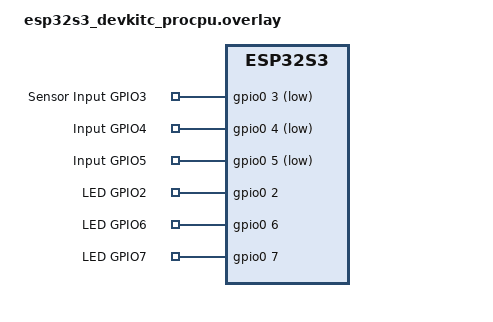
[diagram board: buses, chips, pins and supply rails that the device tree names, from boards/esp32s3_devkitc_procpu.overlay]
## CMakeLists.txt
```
# SPDX-License-Identifier: Apache-2.0

cmake_minimum_required(VERSION 3.20.0)

find_package(Zephyr REQUIRED HINTS $ENV{ZEPHYR_BASE})
project(bstd)
target_sources(app PRIVATE src/main.c)

add_subdirectory_ifdef(CONFIG_COMMON_ENABLE src/common)
add_subdirectory_ifdef(CONFIG_NVS_MGR_ENABLE src/nvs_mgr)
add_subdirectory_ifdef(CONFIG_DEV_SETT      src/dev_sett)
add_subdirectory_ifdef(CONFIG_BLE_ENABLE    src/ble)
add_subdirectory_ifdef(CONFIG_SENSOR        src/sensor)
add_subdirectory_ifdef(CONFIG_FEATURE_ENABLE src/feature)
add_subdirectory_ifdef(CONFIG_COMMU_ENABLE   src/commu)
add_subdirectory_ifdef(CONFIG_NETWORK_MOD   src/netwrk)
add_subdirectory_ifdef(CONFIG_LFS_MGR_ENABLE src/lfs_mgr)
add_subdirectory_ifdef(CONFIG_SHELL_MOD     src/shell)
add_subdirectory_ifdef(CONFIG_GPIO_MGR     src/gpio_mgr)
```

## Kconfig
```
source "Kconfig.zephyr"

menu "BSTD menu"

rsource "src/nvs_mgr/Kconfig"
rsource "src/common/Kconfig"
rsource "src/dev_sett/Kconfig"
rsource "src/ble/Kconfig"
rsource "src/shell/Kconfig"
rsource "src/feature/Kconfig"
rsource "src/commu/Kconfig"
rsource "src/netwrk/Kconfig"
rsource "src/lfs_mgr/Kconfig"
rsource "src/shell/Kconfig"
rsource "src/gpio_mgr/Kconfig"

config BSTD
	bool  "Build source code for BSTD"
	default y
	help
	  Build source code for BSTD
endmenu
```

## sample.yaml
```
sample:
  description: RTOS application
    application
  name: bstd
common:
  min_ram: 2
  min_flash: 16
  tags: introduction
  integration_platforms:
    - native_sim
  harness: console
  harness_config:
    type: one_line
    regex:
      - "Hello World! (.*)"
tests:
  sample.basic.helloworld:
    tags: introduction
  bstd.lfs_mgr.basic:
    platform_allow:
      - native_sim
    tags:
      - lfs_mgr
```

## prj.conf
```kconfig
# ==============================
# Flash
# ==============================
#CONFIG_FLASH_SIZE=16384

#Thread analyzer
CONFIG_THREAD_ANALYZER=y
CONFIG_THREAD_ANALYZER_USE_PRINTK=y
CONFIG_THREAD_NAME=y
CONFIG_THREAD_RUNTIME_STATS=y
CONFIG_THREAD_STACK_INFO=y

# ==============================
# Flash NVS and littlefs
# ==============================
CONFIG_FLASH=y
CONFIG_FLASH_MAP=y
CONFIG_FLASH_PAGE_LAYOUT=y
CONFIG_NVS=y
CONFIG_FILE_SYSTEM=y
CONFIG_FILE_SYSTEM_LITTLEFS=y
CONFIG_FLASH_SIZE=16384

# ==============================
# Networking and Wi-Fi
# ==============================
CONFIG_WIFI_ESP32=y
CONFIG_WIFI=y
CONFIG_NET_L2_WIFI_MGMT=y
CONFIG_WIFI_LOG_LEVEL_ERR=y
CONFIG_EARLY_CONSOLE=y
CONFIG_NETWORKING=y
CONFIG_TEST_RANDOM_GENERATOR=y
CONFIG_NET_TX_STACK_SIZE=2048
CONFIG_NET_RX_STACK_SIZE=2048
CONFIG_NET_PKT_RX_COUNT=10
CONFIG_NET_PKT_TX_COUNT=10
CONFIG_NET_BUF_RX_COUNT=20
CONFIG_NET_BUF_TX_COUNT=20
CONFIG_NET_MAX_CONTEXTS=10
CONFIG_NET_DHCPV4=y
CONFIG_NET_IPV4=y
CONFIG_NET_IPV6=n
CONFIG_NET_TCP=y
CONFIG_NET_LOG=y
CONFIG_NET_SHELL=y
CONFIG_NET_STATISTICS=y
CONFIG_NET_STATISTICS_PERIODIC_OUTPUT=n
CONFIG_NET_L2_WIFI_SHELL=y
CONFIG_NET_MGMT_EVENT_QUEUE_TIMEOUT=5000
CONFIG_NET_MGMT_EVENT_QUEUE_SIZE=16
CONFIG_NET_SOCKETS=y
CONFIG_NET_SOCKETS_OFFLOAD=n
CONFIG_POSIX_API=y
CONFIG_ESP32_WIFI_STA_AUTO_DHCPV4=y
CONFIG_NET_CONNECTION_MANAGER=y
CONFIG_NETWORKING=y
CONFIG_NET_MGMT_EVENT=y
CONFIG_NET_MGMT_EVENT_THREAD=y
# HTTP and DNS
CONFIG_HTTP_CLIENT=y
CONFIG_DNS_RESOLVER=y
CONFIG_NET_SOCKETS_SOCKOPT_TLS=n # Start with plain HTTP
# ==============================
# GPIO (for sensor input)
# ==============================
CONFIG_GPIO=y

# ==============================
# Serial and Logging
# ==============================
CONFIG_SERIAL=y
CONFIG_CONSOLE=y
CONFIG_UART_CONSOLE=y
#CONFIG_PRINTK=y

# ==============================
# Logging and debug
# ==============================
CONFIG_LOG=y

# REMOVED (causes stack overflow in BLE context)
#CONFIG_LOG_MODE_IMMEDIATE=y

# ADDED (safe logging mode)
CONFIG_LOG_MODE_DEFERRED=y

#CONFIG_LOG_BACKEND_UART=y
CONFIG_LOG_BUFFER_SIZE=4096
#CONFIG_LOG_DEFAULT_LEVEL=4

# ==============================
# Shell
# ==============================
CONFIG_SHELL=y
CONFIG_SHELL_BACKEND_SERIAL=y
CONFIG_SHELL_PROMPT_UART="bstd:~$ "
CONFIG_SHELL_STACK_SIZE=4096

# ==============================
# Stack diagnostics
# ==============================
#CONFIG_STACK_SENTINEL=y

# ADDED (better stack debugging)
#CONFIG_INIT_STACKS=y
#CONFIG_STACK_USAGE=y

# ==============================
# BLE Config
# ==============================
CONFIG_BT=y
CONFIG_BT_PERIPHERAL=y
CONFIG_BT_DEVICE_NAME="BSTD_DEV"
CONFIG_BT_DEVICE_APPEARANCE=0
CONFIG_BT_MAX_CONN=1
CONFIG_BT_HCI=y

#CONFIG_BT_HCI_HOST=y
#CONFIG_BT_CTLR=y

# ==============================
# BLE Logging (reduced to safe level)
# ==============================

# REMOVED (too heavy, causes deep stack usage)
#CONFIG_BT_LOG_LEVEL_DBG=y

# ADDED (safe level)
#CONFIG_BT_LOG_LEVEL_INF=y

# REMOVED (enable later one-by-one if needed)
#CONFIG_BT_HCI_CORE_LOG_LEVEL_DBG=y
#CONFIG_BT_L2CAP_LOG_LEVEL_DBG=y
#CONFIG_BT_ATT_LOG_LEVEL_DBG=y
#CONFIG_BT_GATT_LOG_LEVEL_DBG=y
#CONFIG_BT_CONN_LOG_LEVEL_DBG=y

# ==============================
# System Stability (recommended)
# ==============================

# ADDED (optional but improves stability)
CONFIG_MAIN_STACK_SIZE=8192
CONFIG_SYSTEM_WORKQUEUE_STACK_SIZE=4096
CONFIG_ISR_STACK_SIZE=4096



# ==============================
# BSTD APP config
# ==============================
CONFIG_BSTD=y
CONFIG_NVS_MGR_ENABLE=y
CONFIG_BLE_ENABLE=y
CONFIG_COMMU_ENABLE=y
CONFIG_DEV_SETT=y
CONFIG_SENSOR=y
CONFIG_FEATURE_ENABLE=y
CONFIG_GPIO_MGR=y
CONFIG_NETWORK_MOD=y
CONFIG_SHELL_MOD=y
CONFIG_LCR_ENABLE=n
CONFIG_LFS_MGR_ENABLE=y
CONFIG_WEARABLE_COMPRESSION=y
```

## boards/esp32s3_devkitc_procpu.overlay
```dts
/*
 * BSTD board-specific overlay for ESP32-S3 DevKitC (PROCPU)
 *
 * This file is automatically applied by Zephyr because it lives in
 * <app>/boards/ (plural) and is named <board>.overlay.
 *
 * It declares GPIO pins used by gpio_mgr for input reading and output blinking.
 */
/ {
    /* gpio_mgr node: all sensor/actuator pins are declared here.
     * Zephyr GPIO subsystem will expose each child as a gpio_dt_spec.
     */
    gpio_mgr: gpio-mgr {
        compatible = "gpio-keys";

        /* Input pins (sensors, buttons, PIR, etc.) */
        sensor_in: input_3 {
            gpios = <&gpio0 3 (GPIO_PULL_UP | GPIO_ACTIVE_LOW)>;
            label = "Sensor Input GPIO3";
        };
        input_4: input_4 {
            gpios = <&gpio0 4 (GPIO_PULL_UP | GPIO_ACTIVE_LOW)>;
            label = "Input GPIO4";
        };
        input_5: input_5 {
            gpios = <&gpio0 5 (GPIO_PULL_UP | GPIO_ACTIVE_LOW)>;
            label = "Input GPIO5";
        };

        /* Output pins (LEDs, relays, buzzers, etc.) */
        led_2: output_2 {
            gpios = <&gpio0 2 GPIO_ACTIVE_HIGH>;
            label = "LED GPIO2";
        };
        led_6: output_6 {
            gpios = <&gpio0 6 GPIO_ACTIVE_HIGH>;
            label = "LED GPIO6";
        };
        led_7: output_7 {
            gpios = <&gpio0 7 GPIO_ACTIVE_HIGH>;
            label = "LED GPIO7";
        };
    };
};
```

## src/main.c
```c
/*
 * Copyright (c) 2012-2014 Wind River Systems, Inc.
 *
 * SPDX-License-Identifier: Apache-2.0
 */
#include <zephyr/kernel.h>
#include <stdio.h>
#include "loggers.h"

#ifdef CONFIG_NVS_MGR_ENABLE
#include "nvs_mgr.h"
#endif
#ifdef CONFIG_DEV_SETT
#include "dev_sett.h"
#endif

#ifdef CONFIG_BLE_ENABLE
#include "ble.h"
#endif

#ifdef CONFIG_COMMU_ENABLE
#include "commu.h"
#endif

#ifdef CONFIG_FEATURE_ENABLE
#include "feature.h"
#endif

#ifdef CONFIG_SENSOR
#include "sensor.h"
#endif
#ifdef CONFIG_GPIO_MGR
#include "gpio_mgr.h"
#endif

#ifdef CONFIG_NETWORK_MOD
#include "netwrk.h"
#endif

#ifdef CONFIG_LFS_MGR_ENABLE
#include "lfs_mgr.h"
#endif

#ifdef CONFIG_SHELL_MOD
#include "shell_main.h"
#endif

#define LOOKUP(mod) { .init_func = init_##mod, .start_func = start_##mod, .stop_func = stop_##mod }
#define ARY_SZ(ary) (sizeof(ary) / sizeof(ary[0]))

typedef struct {
	int (*init_func)(void);
	int (*start_func)(void);
	int (*stop_func)(void);
} app_init_t;

typedef struct {
	unsigned char cmd;
	unsigned char len;
	void *data;
} mmsg_t;

K_MSGQ_DEFINE(main_msgq, 10, sizeof(mmsg_t), 4);

app_init_t look_up[] = {
#ifdef CONFIG_NVS_MGR_ENABLE
	LOOKUP(nvs_mgr),
#endif
#ifdef CONFIG_LFS_MGR_ENABLE
	LOOKUP(lfs_mgr),
#endif
#ifdef CONFIG_SENSOR
	LOOKUP(sensor),
#endif
#ifdef CONFIG_GPIO_MGR
	LOOKUP(gpio_mgr),
#endif
#ifdef CONFIG_BLE_ENABLE
	LOOKUP(ble),
#endif
#ifdef CONFIG_COMMU_ENABLE
	LOOKUP(commu),
#endif
#ifdef CONFIG_DEV_SETT
	LOOKUP(dev_sett),
#endif
#ifdef CONFIG_FEATURE_ENABLE
	LOOKUP(feature),
#endif
#ifdef CONFIG_NETWORK_MOD
	LOOKUP(netwrk),
#endif
#ifdef CONFIG_SHELL_MOD
	LOOKUP(shell),
#endif
};

int push_mmsg(unsigned char cmd, unsigned char len, void *data) {
	mmsg_t msg = {
		.cmd	= cmd,
		.len 	= len,
		.data 	= data,
	};
	return k_msgq_put(&main_msgq, &msg, K_NO_WAIT);
}

void handle_mmsg(mmsg_t *msg) {
	log_i("cmd: %u, len: %u", msg->cmd, msg->len);
}

int main(void) {
	log_i("BSTD started!!");

	for (int i = 0; i < ARY_SZ(look_up); i++) {
		look_up[i].init_func();
	}

	for (int i = 0; i < ARY_SZ(look_up); i++) {
		look_up[i].start_func();
	}

	mmsg_t msg = {0, };
	while (1)  {
		if (!k_msgq_get(&main_msgq, &msg, K_FOREVER)) {
			handle_mmsg(&msg);
		}
	}

	/* Graceful shutdown (never reached in current design) */
	log_i("Shutting down modules...");
	for (int i = ARY_SZ(look_up); i > 0; i--) {
		look_up[i - 1].stop_func();
	}

	return 0;
	}
```
